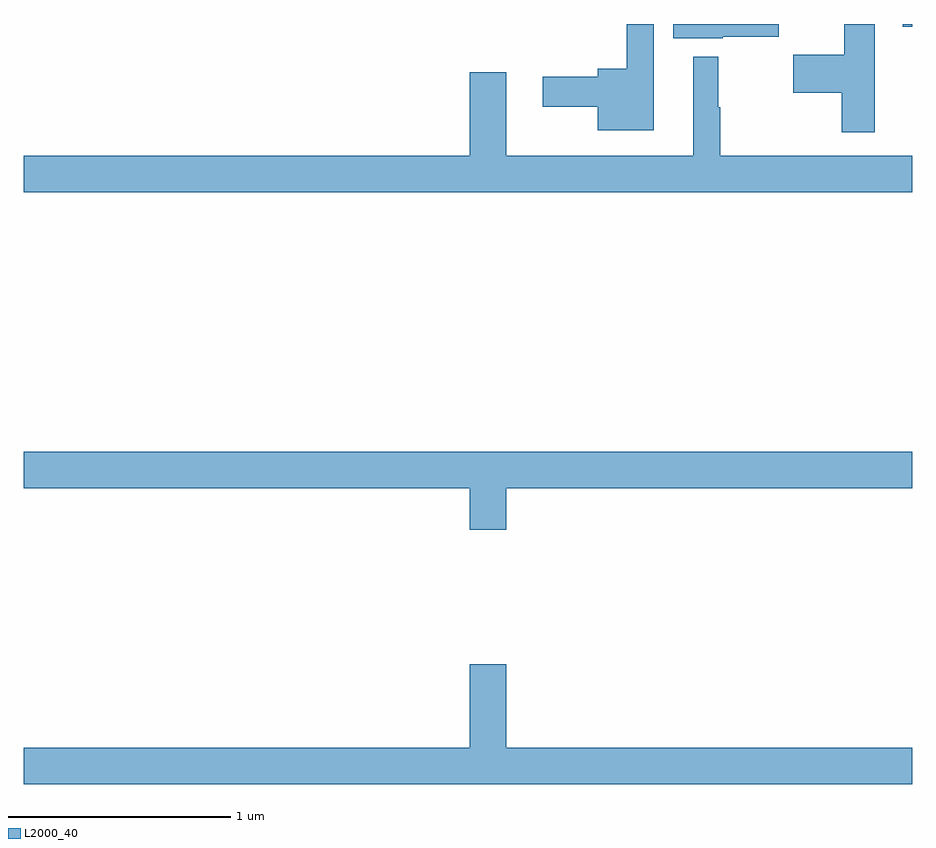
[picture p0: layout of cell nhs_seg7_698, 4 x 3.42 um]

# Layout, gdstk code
import gdstk
lib = gdstk.Library(unit=1e-6, precision=1e-09)
def R(c, l, rs):  # rectangles x0, y0, x1, y1
    for r in rs: c.add(gdstk.rectangle(r[:2], r[2:], *l))
def P(c, l, *ps):  # polygons
    for p in ps: c.add(gdstk.Polygon(p, *l))
L2000_40 = (2000, 40)

nhs_seg7_698 = lib.new_cell('nhs_seg7_698')
R(nhs_seg7_698, L2000_40, [(166.956,1039.987,167,1040)])
P(nhs_seg7_698, L2000_40, [(166.831,1040),(166.694,1040),(166.694,1039.862),(166.464,1039.862),(166.464,1039.691),(166.682,1039.691),(166.682,1039.512),(166.831,1039.512)],
  [(165.835,1040),(165.714,1040),(165.714,1039.799),(165.584,1039.799),(165.584,1039.763),(165.336,1039.763),(165.336,1039.628),(165.584,1039.628),(165.584,1039.523),(165.835,1039.523)],
  [(166.146,1039.943),(166.399,1039.943),(166.399,1040),(165.923,1040),(165.923,1039.937),(166.146,1039.937)],
  [(167,1039.408),(166.135,1039.408),(166.135,1039.625),(166.127,1039.625),(166.127,1039.852),(166.013,1039.852),(166.013,1039.408),(165.172,1039.408),(165.172,1039.783),(165.008,1039.783),(165.008,1039.408),(163,1039.408),(163,1039.244),(167,1039.244)],
  [(165.172,1037.912),(167,1037.912),(167,1038.076),(163,1038.076),(163,1037.912),(165.008,1037.912),(165.008,1037.724),(165.172,1037.724)],
  [(167,1036.744),(165.172,1036.744),(165.172,1037.119),(165.008,1037.119),(165.008,1036.744),(163,1036.744),(163,1036.58),(167,1036.58)])

lib.write_gds('nhs_seg7_698.gds')
